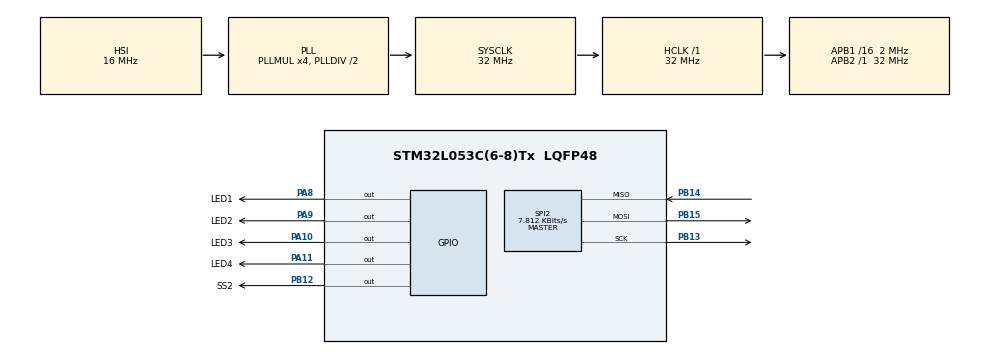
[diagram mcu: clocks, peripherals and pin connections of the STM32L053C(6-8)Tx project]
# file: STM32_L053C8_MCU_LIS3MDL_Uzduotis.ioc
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Dma.Request0=SPI2_RX
Dma.Request1=SPI2_TX
Dma.SPI2_RX.0.Direction=DMA_PERIPH_TO_MEMORY
Dma.SPI2_RX.0.Instance=DMA1_Channel4
Dma.SPI2_RX.0.MemDataAlignment=DMA_MDATAALIGN_BYTE
Dma.SPI2_RX.0.MemInc=DMA_MINC_ENABLE
Dma.SPI2_RX.0.Mode=DMA_NORMAL
Dma.SPI2_RX.0.PeriphDataAlignment=DMA_PDATAALIGN_BYTE
Dma.SPI2_RX.0.PeriphInc=DMA_PINC_DISABLE
Dma.SPI2_RX.0.Priority=DMA_PRIORITY_LOW
Dma.SPI2_TX.1.Direction=DMA_MEMORY_TO_PERIPH
Dma.SPI2_TX.1.Instance=DMA1_Channel5
Dma.SPI2_TX.1.MemDataAlignment=DMA_MDATAALIGN_BYTE
Dma.SPI2_TX.1.MemInc=DMA_MINC_ENABLE
Dma.SPI2_TX.1.Mode=DMA_NORMAL
Dma.SPI2_TX.1.PeriphDataAlignment=DMA_PDATAALIGN_BYTE
Dma.SPI2_TX.1.PeriphInc=DMA_PINC_DISABLE
Dma.SPI2_TX.1.Priority=DMA_PRIORITY_LOW
IWDG.Reload=20
IWDG.Window=20
Mcu.Family=STM32L0
Mcu.Name=STM32L053C(6-8)Tx
Mcu.Package=LQFP48
NVIC.DMA1_Channel4_5_6_7_IRQn=true\:0\:0\:false\:false\:true\:false\:true\:true
NVIC.SPI2_IRQn=true\:0\:0\:true\:false\:true\:true\:true\:true
NVIC.TIM2_IRQn=true\:0\:0\:false\:false\:true\:true\:true\:true
NVIC.TIM6_DAC_IRQn=true\:0\:0\:false\:false\:true\:true\:true\:true
PA10.GPIO_Label=LED3
PA10.Signal=GPIO_Output
PA11.GPIO_Label=LED4
PA11.Signal=GPIO_Output
PA13.Mode=Serial_Wire
PA13.Signal=SYS_SWDIO
PA14.Mode=Serial_Wire
PA14.Signal=SYS_SWCLK
PA8.GPIO_Label=LED1
PA8.Signal=GPIO_Output
PA9.GPIO_Label=LED2
PA9.Signal=GPIO_Output
PB12.GPIO_Label=SS2
PB12.PinState=GPIO_PIN_SET
PB12.Signal=GPIO_Output
PB13.GPIO_PuPd=GPIO_NOPULL
PB13.Mode=Full_Duplex_Master
PB13.Signal=SPI2_SCK
PB14.GPIO_PuPd=GPIO_NOPULL
PB14.Mode=Full_Duplex_Master
PB14.Signal=SPI2_MISO
PB15.GPIO_PuPd=GPIO_NOPULL
PB15.Mode=Full_Duplex_Master
PB15.Signal=SPI2_MOSI
ProjectManager.HeapSize=0x200
ProjectManager.StackSize=0x400
ProjectManager.TargetToolchain=STM32CubeIDE
RCC.AHBFreq_Value=32000000
RCC.APB1CLKDivider=RCC_HCLK_DIV16
RCC.APB1Freq_Value=2000000
RCC.APB1TimFreq_Value=4000000
RCC.APB2Freq_Value=32000000
RCC.APB2TimFreq_Value=32000000
RCC.HCLKFreq_Value=32000000
RCC.HSE_VALUE=8000000
RCC.HSI16_VALUE=16000000
RCC.HSI48_VALUE=48000000
RCC.HSI_VALUE=16000000
RCC.LSE_VALUE=32768
RCC.MSI_VALUE=2097000
RCC.PLLMUL=RCC_PLLMUL_4
RCC.SYSCLKFreq_VALUE=32000000
RCC.SYSCLKSource=RCC_SYSCLKSOURCE_PLLCLK
RCC.VCOOutputFreq_Value=64000000
SPI2.BaudRatePrescaler=SPI_BAUDRATEPRESCALER_256
SPI2.CLKPhase=SPI_PHASE_1EDGE
SPI2.CLKPolarity=SPI_POLARITY_LOW
SPI2.CalculateBaudRate=7.812 KBits/s
SPI2.Direction=SPI_DIRECTION_2LINES
SPI2.Mode=SPI_MODE_MASTER
SPI2.VirtualType=VM_MASTER
TIM2.Period=250-1
TIM2.Prescaler=4000-1
TIM6.AutoReloadPreload=TIM_AUTORELOAD_PRELOAD_ENABLE
TIM6.Period=99
TIM6.Prescaler=32
VP_IWDG_VS_IWDG.Mode=IWDG_Activate
VP_SYS_V_PVD_IN.Mode=Mode_PVD_Int
VP_TIM2_VS_ClockSourceINT.Mode=Internal
VP_TIM6_VS_ClockSourceINT.Mode=Enable_Timer
board=custom

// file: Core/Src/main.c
/* USER CODE BEGIN Header */
/**
  ******************************************************************************
  * @file           : main.c
  * @brief          : Main program body
  ******************************************************************************
  * @attention
  *
  * <h2><center>&copy; Copyright (c) 2025 STMicroelectronics.
  * All rights reserved.</center></h2>
  *
  * This software component is licensed by ST under BSD 3-Clause license,
  * the "License"; You may not use this file except in compliance with the
  * License. You may obtain a copy of the License at:
  *                        opensource.org/licenses/BSD-3-Clause
  *
  ******************************************************************************
  */
/* USER CODE END Header */
#include "main.h"

/* USER CODE BEGIN Includes */

#include "lis3mdl.h"
#include "lis3mdl_registers.h"
#include "magnetometer.h"

/* USER CODE END Includes */

IWDG_HandleTypeDef hiwdg;

SPI_HandleTypeDef hspi2;
DMA_HandleTypeDef hdma_spi2_rx;
DMA_HandleTypeDef hdma_spi2_tx;

TIM_HandleTypeDef htim2;
TIM_HandleTypeDef htim6;

/* USER CODE BEGIN PV */

volatile uint8_t spi_cplt_flag = 0;
LIS3MDL_Magnetic_Data_t magnetic_data;
uint8_t time_to_renew_data = 0;

Magnetometer_leds magnetometer_leds = {
		.pos_y_led_gpio_port = LED1_GPIO_Port,
		.pos_y_led_gpio_pin = LED1_Pin,
		.pos_x_led_gpio_port = LED2_GPIO_Port,
		.pos_x_led_gpio_pin = LED2_Pin,
		.neg_y_led_gpio_port = LED3_GPIO_Port,
		.neg_y_led_gpio_pin = LED3_Pin,
		.neg_x_led_gpio_port = LED4_GPIO_Port,
		.neg_x_led_gpio_pin = LED4_Pin,
};

/* USER CODE END PV */

void SystemClock_Config(void);
static void MX_GPIO_Init(void);
static void MX_DMA_Init(void);
static void MX_SPI2_Init(void);
static void MX_TIM6_Init(void);
static void MX_IWDG_Init(void);
static void MX_TIM2_Init(void);

int main(void)
{

  /* USER CODE BEGIN 1 */

	LIS3MDL_Device lis3mdl_devices[1];
	lis3mdl_initialize_device_struct(&lis3mdl_devices[0], &hspi2, SS2_GPIO_Port, SS2_Pin);

	LIS3MDL_Init_Params init_params;
	lis3mdl_set_default_params(&init_params);
	// Init parameters can be tweaked manually
	// For example init_params.full_scale = LIS3MDL_FULL_SCALE_4_GAUSS
	// All configurable options available under lis3mdl_init_params.h
	init_params.full_scale = LIS3MDL_FULL_SCALE_16_GAUSS;
	init_params.xy_operation_mode = LIS3MDL_ULTRA_PERFORMACE;

	lis3mdl_setup_config_registers(&lis3mdl_devices[0], init_params);

  /* USER CODE END 1 */

  /* MCU Configuration--------------------------------------------------------*/

  /* Reset of all peripherals, Initializes the Flash interface and the Systick. */
  HAL_Init();

  /* Configure the system clock */
  SystemClock_Config();

  /* Initialize all configured peripherals */
  MX_GPIO_Init();
  MX_DMA_Init();
  MX_SPI2_Init();
  MX_TIM6_Init();
  MX_IWDG_Init();
  MX_TIM2_Init();
  /* USER CODE BEGIN 2 */
  HAL_TIM_Base_Start_IT(&htim2);

  /* USER CODE END 2 */

  /* Infinite loop */
  /* USER CODE BEGIN WHILE */
  while (1)
  {
	HAL_IWDG_Refresh(&hiwdg);
	lis3mdl_process(lis3mdl_devices, 1, &spi_cplt_flag);
	if(time_to_renew_data){
		if(lis3mdl_get_magnetic_data(lis3mdl_devices, 1, 0, &magnetic_data) == LIS3MDL_DATA_AVAILABLE){
			light_up_led_towards_magnetic_field(magnetometer_leds, magnetic_data);
			time_to_renew_data = 0;
		}
	}

    /* USER CODE END WHILE */

  }
}

void SystemClock_Config(void)
{
  RCC_OscInitTypeDef RCC_OscInitStruct = {0};
  RCC_ClkInitTypeDef RCC_ClkInitStruct = {0};

  /** Configure the main internal regulator output voltage
  */
  __HAL_PWR_VOLTAGESCALING_CONFIG(PWR_REGULATOR_VOLTAGE_SCALE1);

  /** Initializes the RCC Oscillators according to the specified parameters
  * in the RCC_OscInitTypeDef structure.
  */
  RCC_OscInitStruct.OscillatorType = RCC_OSCILLATORTYPE_HSI|RCC_OSCILLATORTYPE_LSI;
  RCC_OscInitStruct.HSIState = RCC_HSI_ON;
  RCC_OscInitStruct.HSICalibrationValue = RCC_HSICALIBRATION_DEFAULT;
  RCC_OscInitStruct.LSIState = RCC_LSI_ON;
  RCC_OscInitStruct.PLL.PLLState = RCC_PLL_ON;
  RCC_OscInitStruct.PLL.PLLSource = RCC_PLLSOURCE_HSI;
  RCC_OscInitStruct.PLL.PLLMUL = RCC_PLLMUL_4;
  RCC_OscInitStruct.PLL.PLLDIV = RCC_PLLDIV_2;
  if (HAL_RCC_OscConfig(&RCC_OscInitStruct) != HAL_OK)
  {
    Error_Handler();
  }

  /** Initializes the CPU, AHB and APB buses clocks
  */
  RCC_ClkInitStruct.ClockType = RCC_CLOCKTYPE_HCLK|RCC_CLOCKTYPE_SYSCLK
                              |RCC_CLOCKTYPE_PCLK1|RCC_CLOCKTYPE_PCLK2;
  RCC_ClkInitStruct.SYSCLKSource = RCC_SYSCLKSOURCE_PLLCLK;
  RCC_ClkInitStruct.AHBCLKDivider = RCC_SYSCLK_DIV1;
  RCC_ClkInitStruct.APB1CLKDivider = RCC_HCLK_DIV16;
  RCC_ClkInitStruct.APB2CLKDivider = RCC_HCLK_DIV1;

  if (HAL_RCC_ClockConfig(&RCC_ClkInitStruct, FLASH_LATENCY_1) != HAL_OK)
  {
    Error_Handler();
  }
}

static void MX_IWDG_Init(void)
{

  hiwdg.Instance = IWDG;
  hiwdg.Init.Prescaler = IWDG_PRESCALER_4;
  hiwdg.Init.Window = 20;
  hiwdg.Init.Reload = 20;
  if (HAL_IWDG_Init(&hiwdg) != HAL_OK)
  {
    Error_Handler();
  }

}

static void MX_SPI2_Init(void)
{

  /* SPI2 parameter configuration*/
  hspi2.Instance = SPI2;
  hspi2.Init.Mode = SPI_MODE_MASTER;
  hspi2.Init.Direction = SPI_DIRECTION_2LINES;
  hspi2.Init.DataSize = SPI_DATASIZE_8BIT;
  hspi2.Init.CLKPolarity = SPI_POLARITY_LOW;
  hspi2.Init.CLKPhase = SPI_PHASE_1EDGE;
  hspi2.Init.NSS = SPI_NSS_SOFT;
  hspi2.Init.BaudRatePrescaler = SPI_BAUDRATEPRESCALER_256;
  hspi2.Init.FirstBit = SPI_FIRSTBIT_MSB;
  hspi2.Init.TIMode = SPI_TIMODE_DISABLE;
  hspi2.Init.CRCCalculation = SPI_CRCCALCULATION_DISABLE;
  hspi2.Init.CRCPolynomial = 7;
  if (HAL_SPI_Init(&hspi2) != HAL_OK)
  {
    Error_Handler();
  }

}

static void MX_TIM2_Init(void)
{

  TIM_ClockConfigTypeDef sClockSourceConfig = {0};
  TIM_MasterConfigTypeDef sMasterConfig = {0};

  htim2.Instance = TIM2;
  htim2.Init.Prescaler = 4000-1;
  htim2.Init.CounterMode = TIM_COUNTERMODE_UP;
  htim2.Init.Period = 250-1;
  htim2.Init.ClockDivision = TIM_CLOCKDIVISION_DIV1;
  htim2.Init.AutoReloadPreload = TIM_AUTORELOAD_PRELOAD_DISABLE;
  if (HAL_TIM_Base_Init(&htim2) != HAL_OK)
  {
    Error_Handler();
  }
  sClockSourceConfig.ClockSource = TIM_CLOCKSOURCE_INTERNAL;
  if (HAL_TIM_ConfigClockSource(&htim2, &sClockSourceConfig) != HAL_OK)
  {
    Error_Handler();
  }
  sMasterConfig.MasterOutputTrigger = TIM_TRGO_RESET;
  sMasterConfig.MasterSlaveMode = TIM_MASTERSLAVEMODE_DISABLE;
  if (HAL_TIMEx_MasterConfigSynchronization(&htim2, &sMasterConfig) != HAL_OK)
  {
    Error_Handler();
  }

}

static void MX_TIM6_Init(void)
{

  TIM_MasterConfigTypeDef sMasterConfig = {0};

  htim6.Instance = TIM6;
  htim6.Init.Prescaler = 32;
  htim6.Init.CounterMode = TIM_COUNTERMODE_UP;
  htim6.Init.Period = 99;
  htim6.Init.AutoReloadPreload = TIM_AUTORELOAD_PRELOAD_ENABLE;
  if (HAL_TIM_Base_Init(&htim6) != HAL_OK)
  {
    Error_Handler();
  }
  sMasterConfig.MasterOutputTrigger = TIM_TRGO_RESET;
  sMasterConfig.MasterSlaveMode = TIM_MASTERSLAVEMODE_DISABLE;
  if (HAL_TIMEx_MasterConfigSynchronization(&htim6, &sMasterConfig) != HAL_OK)
  {
    Error_Handler();
  }

}

static void MX_DMA_Init(void)
{

  /* DMA controller clock enable */
  __HAL_RCC_DMA1_CLK_ENABLE();

  /* DMA interrupt init */
  /* DMA1_Channel4_5_6_7_IRQn interrupt configuration */
  HAL_NVIC_SetPriority(DMA1_Channel4_5_6_7_IRQn, 0, 0);
  HAL_NVIC_EnableIRQ(DMA1_Channel4_5_6_7_IRQn);

}

static void MX_GPIO_Init(void)
{
  GPIO_InitTypeDef GPIO_InitStruct = {0};

  /* GPIO Ports Clock Enable */
  __HAL_RCC_GPIOB_CLK_ENABLE();
  __HAL_RCC_GPIOA_CLK_ENABLE();

  /*Configure GPIO pin Output Level */
  HAL_GPIO_WritePin(SS2_GPIO_Port, SS2_Pin, GPIO_PIN_SET);

  /*Configure GPIO pin Output Level */
  HAL_GPIO_WritePin(GPIOA, LED1_Pin|LED2_Pin|LED3_Pin|LED4_Pin, GPIO_PIN_RESET);

  /*Configure GPIO pin : SS2_Pin */
  GPIO_InitStruct.Pin = SS2_Pin;
  GPIO_InitStruct.Mode = GPIO_MODE_OUTPUT_PP;
  GPIO_InitStruct.Pull = GPIO_NOPULL;
  GPIO_InitStruct.Speed = GPIO_SPEED_FREQ_LOW;
  HAL_GPIO_Init(SS2_GPIO_Port, &GPIO_InitStruct);

  /*Configure GPIO pins : LED1_Pin LED2_Pin LED3_Pin LED4_Pin */
  GPIO_InitStruct.Pin = LED1_Pin|LED2_Pin|LED3_Pin|LED4_Pin;
  GPIO_InitStruct.Mode = GPIO_MODE_OUTPUT_PP;
  GPIO_InitStruct.Pull = GPIO_NOPULL;
  GPIO_InitStruct.Speed = GPIO_SPEED_FREQ_LOW;
  HAL_GPIO_Init(GPIOA, &GPIO_InitStruct);

}

/* USER CODE BEGIN 4 */

void HAL_SPI_TxCpltCallback(SPI_HandleTypeDef *hspi){
	if(hspi->Instance == SPI2){
		spi_cplt_flag = 1;
	}
}

void HAL_SPI_RxCpltCallback(SPI_HandleTypeDef *hspi){
	if(hspi->Instance == SPI2){
		spi_cplt_flag = 1;
	}
}

void HAL_TIM_PeriodElapsedCallback(TIM_HandleTypeDef *htim){
	if(htim->Instance == TIM2){
		time_to_renew_data = 1;
	}
}

/* USER CODE END 4 */

void Error_Handler(void)
{
  __disable_irq();
  while (1)
  {
  }
}
